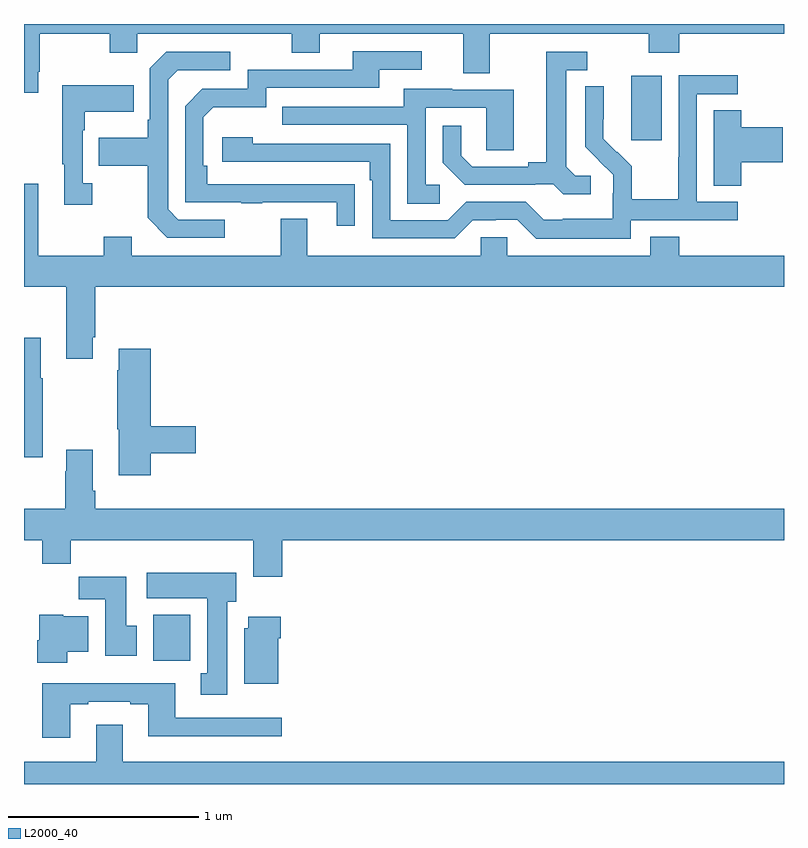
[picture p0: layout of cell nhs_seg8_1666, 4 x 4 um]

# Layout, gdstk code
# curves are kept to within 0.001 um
import gdstk
lib = gdstk.Library(unit=1e-6, precision=1e-09)
def R(c, l, rs):  # rectangles x0, y0, x1, y1
    for r in rs: c.add(gdstk.rectangle(r[:2], r[2:], *l))
def P(c, l, *ps):  # polygons
    for p in ps: c.add(gdstk.Polygon(p, *l))
L2000_40 = (2000, 40)

nhs_seg8_1666 = lib.new_cell('nhs_seg8_1666')
R(nhs_seg8_1666, L2000_40, [(217.679,1098.548,217.876,1098.79), (220.196,1101.288,220.357,1101.628)])
P(nhs_seg8_1666, L2000_40, [(217.075,1101.649),(217.083,1101.649),(217.083,1101.848),(217.45,1101.848),(217.45,1101.749),(217.596,1101.749),(217.596,1101.848),(218.41,1101.848),(218.41,1101.749),(218.557,1101.749),(218.557,1101.848),(219.311,1101.848),(219.311,1101.64),(219.451,1101.64),(219.451,1101.848),(220.288,1101.848),(220.288,1101.749),(220.448,1101.749),(220.448,1101.848),(221,1101.848),(221,1101.9),(217,1101.9),(217,1101.537),(217.075,1101.537)],
  [(218.741,1101.056),(217.964,1101.057),(217.964,1101.154),(217.944,1101.154),(217.944,1101.408),(217.997,1101.461),(218.274,1101.461),(218.274,1101.564),(218.869,1101.564),(218.869,1101.66),(219.094,1101.66),(219.094,1101.756),(218.729,1101.756),(218.729,1101.66),(218.178,1101.66),(218.178,1101.558),(217.938,1101.558),(217.848,1101.468),(217.848,1100.961),(218.143,1100.961),(218.143,1100.956),(218.255,1100.956),(218.255,1100.961),(218.645,1100.961),(218.645,1100.838),(218.741,1100.838)],
  [(219.982,1101.102),(219.9,1101.102),(219.853,1101.149),(219.853,1101.657),(219.964,1101.657),(219.964,1101.753),(219.749,1101.753),(219.749,1101.173),(219.653,1101.173),(219.653,1101.15),(219.358,1101.15),(219.301,1101.207),(219.301,1101.364),(219.204,1101.364),(219.204,1101.17),(219.32,1101.054),(219.692,1101.054),(219.692,1101.057),(219.786,1101.057),(219.838,1101.005),(219.982,1101.005)],
  [(218.056,1100.871),(217.812,1100.871),(217.758,1100.925),(217.758,1101.606),(217.809,1101.657),(218.086,1101.657),(218.086,1101.753),(217.749,1101.753),(217.662,1101.666),(217.662,1101.397),(217.65,1101.397),(217.65,1101.301),(217.393,1101.301),(217.393,1101.154),(217.65,1101.154),(217.65,1100.881),(217.755,1100.775),(218.056,1100.775)],
  [(220.194,1100.868),(220.756,1100.868),(220.756,1100.964),(220.542,1100.964),(220.542,1101.531),(220.756,1101.531),(220.756,1101.63),(220.446,1101.63),(220.446,1101.2),(220.444,1101.2),(220.444,1100.977),(220.199,1100.977),(220.199,1101.151),(220.122,1101.228),(220.119,1101.225),(220.049,1101.296),(220.049,1101.4),(220.051,1101.4),(220.051,1101.572),(219.954,1101.572),(219.954,1101.254),(220.1,1101.106),(220.1,1101.009),(220.098,1101.009),(220.098,1100.875),(219.835,1100.875),(219.835,1100.871),(219.735,1100.871),(219.642,1100.964),(219.327,1100.964),(219.231,1100.868),(218.928,1100.868),(218.928,1101.27),(218.204,1101.27),(218.204,1101.304),(218.043,1101.304),(218.043,1101.174),(218.819,1101.174),(218.819,1101.077),(218.832,1101.077),(218.832,1100.772),(219.267,1100.772),(219.363,1100.868),(219.482,1100.868),(219.482,1100.871),(219.597,1100.871),(219.697,1100.771),(220.194,1100.771)],
  [(217.36,1101.062),(217.308,1101.062),(217.308,1101.341),(217.321,1101.341),(217.321,1101.437),(217.577,1101.437),(217.577,1101.577),(217.2,1101.577),(217.2,1101.161),(217.211,1101.161),(217.211,1100.949),(217.36,1100.949)],
  [(219.187,1101.054),(219.114,1101.054),(219.114,1101.459),(219.432,1101.459),(219.432,1101.235),(219.577,1101.235),(219.577,1101.555),(219.253,1101.555),(219.253,1101.559),(218.999,1101.559),(218.999,1101.465),(218.359,1101.465),(218.359,1101.369),(219.018,1101.369),(219.018,1100.953),(219.187,1100.953)],
  [(220.775,1101.173),(220.993,1101.173),(220.993,1101.356),(220.775,1101.356),(220.775,1101.446),(220.631,1101.446),(220.631,1101.049),(220.775,1101.049)],
  [(217.363,1100.251),(217.376,1100.251),(217.376,1100.516),(221,1100.516),(221,1100.68),(220.448,1100.68),(220.448,1100.779),(220.295,1100.779),(220.295,1100.68),(219.543,1100.68),(219.543,1100.778),(219.405,1100.778),(219.405,1100.68),(218.491,1100.68),(218.491,1100.875),(218.351,1100.875),(218.351,1100.68),(217.567,1100.68),(217.567,1100.779),(217.42,1100.779),(217.42,1100.68),(217.075,1100.68),(217.075,1101.058),(217,1101.058),(217,1100.516),(217.223,1100.516),(217.223,1100.139),(217.363,1100.139)],
  [(217.099,1100.035),(217.087,1100.035),(217.087,1100.248),(217,1100.248),(217,1099.619),(217.099,1099.619)],
  [(217.667,1099.642),(217.903,1099.642),(217.903,1099.784),(217.667,1099.784),(217.667,1100.191),(217.499,1100.191),(217.499,1100.078),(217.492,1100.078),(217.492,1099.767),(217.499,1099.767),(217.499,1099.524),(217.667,1099.524)],
  [(218.36,1099.184),(221,1099.184),(221,1099.348),(217.376,1099.348),(217.376,1099.444),(217.363,1099.444),(217.363,1099.66),(217.223,1099.66),(217.223,1099.547),(217.216,1099.547),(217.216,1099.348),(217,1099.348),(217,1099.184),(217.096,1099.184),(217.096,1099.06),(217.247,1099.06),(217.247,1099.184),(218.207,1099.184),(218.207,1098.99),(218.36,1098.99)],
  [(218.071,1098.858),(218.116,1098.858),(218.116,1099.012),(217.647,1099.012),(217.647,1098.878),(217.964,1098.878),(217.964,1098.482),(217.931,1098.482),(217.931,1098.369),(218.071,1098.369)],
  [(217.594,1098.732),(217.537,1098.732),(217.537,1098.991),(217.288,1098.991),(217.288,1098.872),(217.427,1098.872),(217.427,1098.576),(217.594,1098.576)],
  [(217.228,1098.596),(217.339,1098.596),(217.339,1098.784),(217.206,1098.784),(217.206,1098.79),(217.081,1098.79),(217.081,1098.657),(217.07,1098.657),(217.07,1098.539),(217.228,1098.539)],
  [(218.338,1098.668),(218.351,1098.668),(218.351,1098.781),(218.18,1098.781),(218.18,1098.72),(218.159,1098.72),(218.159,1098.428),(218.338,1098.428)],
  [(217.243,1098.321),(217.339,1098.321),(217.339,1098.333),(217.559,1098.333),(217.559,1098.321),(217.655,1098.321),(217.655,1098.152),(218.356,1098.152),(218.356,1098.249),(217.795,1098.249),(217.795,1098.43),(217.096,1098.43),(217.096,1098.144),(217.243,1098.144)],
  [(221,1098.016),(217.519,1098.016),(217.519,1098.211),(217.379,1098.211),(217.379,1098.016),(217,1098.016),(217,1097.9),(221,1097.9)])

lib.write_gds('nhs_seg8_1666.gds')
